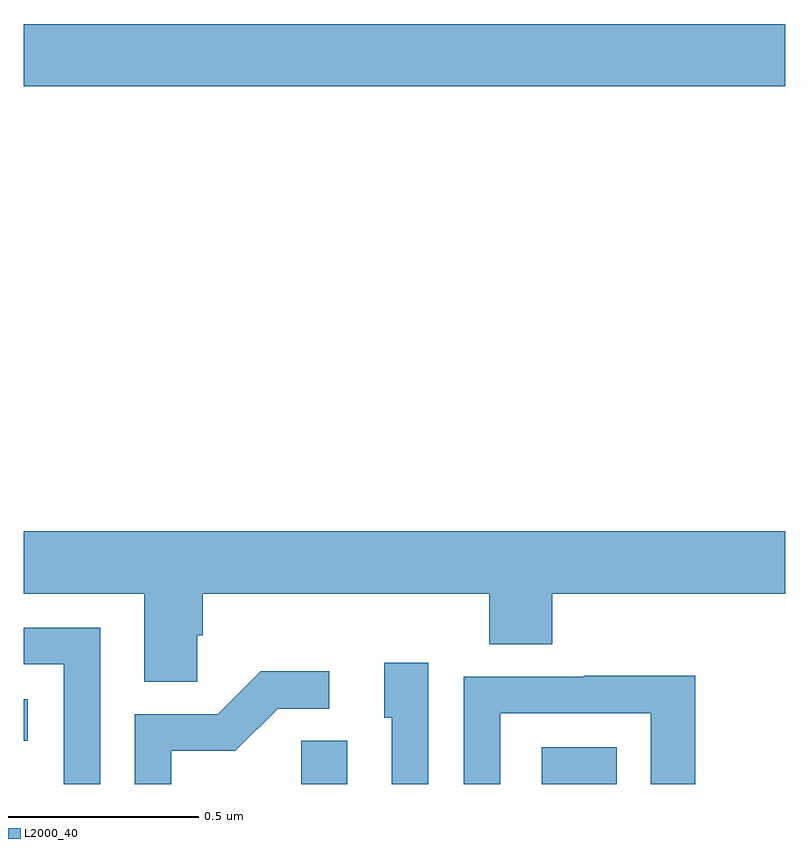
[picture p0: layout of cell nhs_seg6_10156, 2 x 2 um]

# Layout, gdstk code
import gdstk
lib = gdstk.Library(unit=1e-6, precision=1e-09)
def R(c, l, rs):  # rectangles x0, y0, x1, y1
    for r in rs: c.add(gdstk.rectangle(r[:2], r[2:], *l))
def P(c, l, *ps):  # polygons
    for p in ps: c.add(gdstk.Polygon(p, *l))
L2000_40 = (2000, 40)

nhs_seg6_10156 = lib.new_cell('nhs_seg6_10156')
R(nhs_seg6_10156, L2000_40, [(243.729,949.5,243.85,949.613), (244.361,949.5,244.558,949.597), (243,949.613,243.01,949.723), (243,951.332,245,951.496)])
P(nhs_seg6_10156, L2000_40, [(243.456,949.891),(243.47,949.891),(243.47,950),(244.223,950),(244.223,949.867),(244.388,949.867),(244.388,950),(245,950),(245,950.164),(243,950.164),(243,950),(243.317,950),(243.317,949.768),(243.456,949.768)],
  [(243.201,949.911),(243,949.911),(243,949.815),(243.105,949.815),(243.105,949.5),(243.201,949.5)],
  [(244.062,949.819),(243.947,949.819),(243.947,949.674),(243.966,949.674),(243.966,949.5),(244.062,949.5)],
  [(243.387,949.587),(243.556,949.587),(243.667,949.698),(243.802,949.698),(243.802,949.796),(243.623,949.796),(243.51,949.683),(243.291,949.683),(243.291,949.5),(243.387,949.5)],
  [(244.251,949.686),(244.647,949.686),(244.647,949.5),(244.763,949.5),(244.763,949.784),(244.471,949.784),(244.471,949.782),(244.155,949.782),(244.155,949.5),(244.251,949.5)])

lib.write_gds('nhs_seg6_10156.gds')
